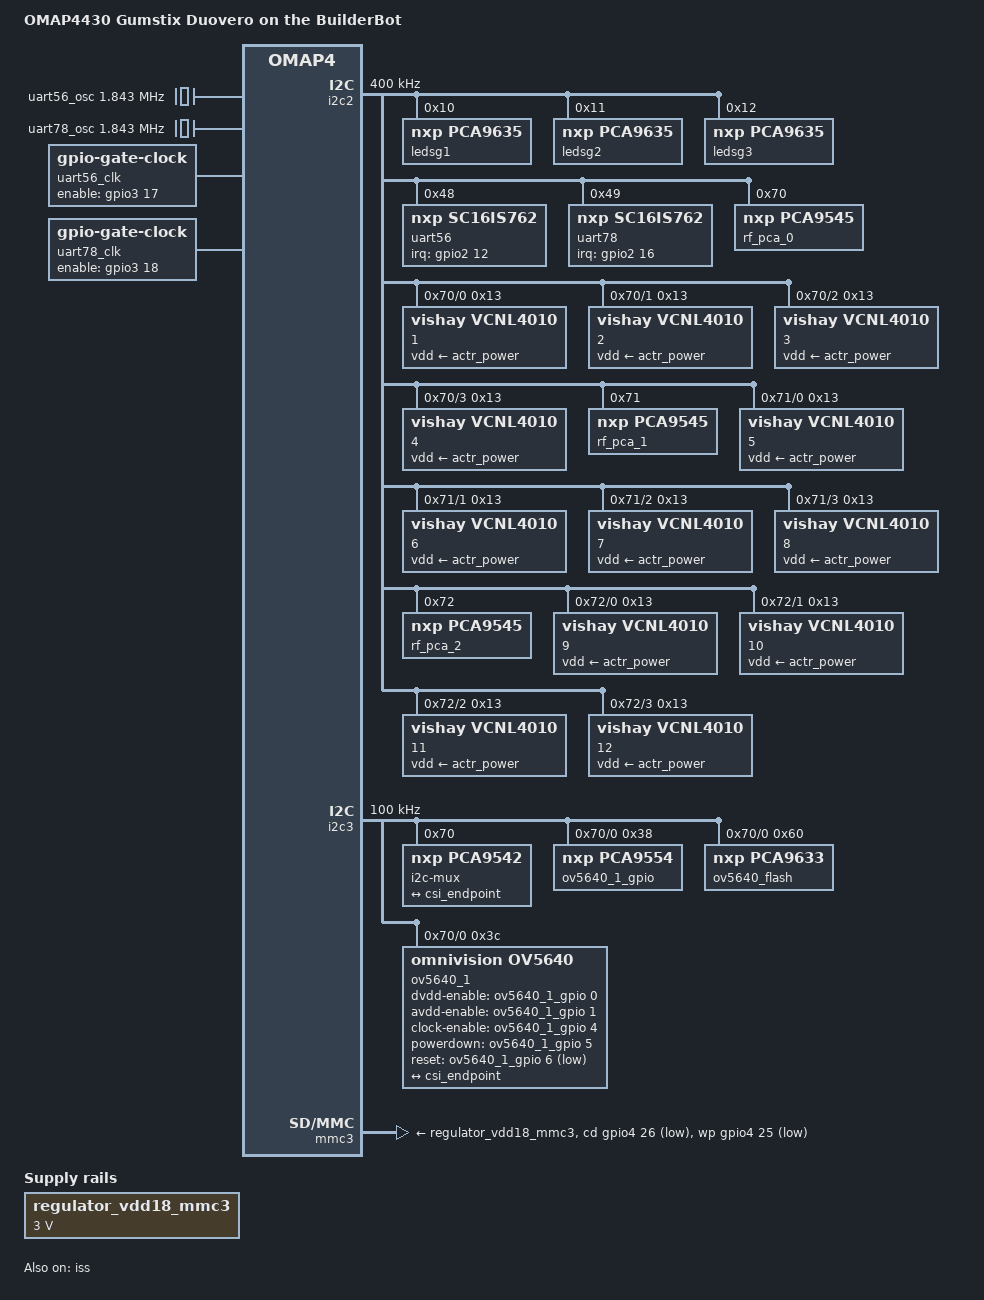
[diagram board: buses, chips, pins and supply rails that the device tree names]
/*
 * Copyright (C) 2014 Florian Vaussard, EPFL Mobots group
 *
 * This program is free software; you can redistribute it and/or modify
 * it under the terms of the GNU General Public License version 2 as
 * published by the Free Software Foundation.
 */
/dts-v1/;

#include "omap4-duovero.dtsi"

#include <dt-bindings/input/input.h>

/ {
	model = "OMAP4430 Gumstix Duovero on the BuilderBot";
	compatible = "ulb,omap4-duovero-builderbot", "gumstix,omap4-duovero", "ti,omap4430", "ti,omap4";

	uart56_osc: uart56_osc {
		compatible = "fixed-clock";
		#clock-cells = <0>;
		clock-frequency = <1843200>;
	};

	uart78_osc: uart78_osc {
		compatible = "fixed-clock";
		#clock-cells = <0>;
		clock-frequency = <1843200>;
	};

	uart56_clk: uart56_clk {
		compatible = "gpio-gate-clock";
		clocks = <&uart56_osc>;
		#clock-cells = <0>;
		enable-gpios = <&gpio3 17 GPIO_ACTIVE_HIGH>; /* cam_shutter.gpio_81: uart56_clk_en */
	};

	uart78_clk: uart78_clk {
		compatible = "gpio-gate-clock";
		clocks = <&uart78_osc>;
		#clock-cells = <0>;
		enable-gpios = <&gpio3 18 GPIO_ACTIVE_HIGH>; /* cam_strobe.gpio_82: uart78_clk_en */
	};

	regulator_vdd18_mmc3: regulator_vdd18_mmc3 {
		compatible = "regulator-fixed";
		regulator-name = "vdd18-mmc3";
		regulator-min-microvolt = <3000000>;
		regulator-max-microvolt = <3000000>;
		regulator-always-on;
	};
};

&omap4_pmx_core {
	pinctrl-0 = <
			&uart56ctrl_pins
			&uart78ctrl_pins
	>;

	i2c2_pins: pinmux_i2c2_pins {
		pinctrl-single,pins = <
			OMAP4_IOPAD(0x126, PIN_INPUT_PULLUP | MUX_MODE0)	/* i2c2_scl */
			OMAP4_IOPAD(0x128, PIN_INPUT_PULLUP | MUX_MODE0)	/* i2c2_sda */
		>;
	};

	i2c3_pins: pinmux_i2c3_pins {
		pinctrl-single,pins = <
			OMAP4_IOPAD(0x12a, PIN_INPUT_PULLUP | MUX_MODE0)	/* i2c3_scl */
			OMAP4_IOPAD(0x12c, PIN_INPUT_PULLUP | MUX_MODE0)	/* i2c3_sda */
		>;
	};

	uart56ctrl_pins: pinmux_uart56ctrl_pins {
		pinctrl-single,pins = <
			OMAP4_IOPAD(0x068, PIN_INPUT_PULLUP | MUX_MODE3)	/* gpmc_a20.gpio_44: uart56_irq */
			OMAP4_IOPAD(0x06a, PIN_INPUT_PULLUP | MUX_MODE3)	/* gpmc_a21.gpio_45: uart56_nrst */
			OMAP4_IOPAD(0x0bc, PIN_OUTPUT | MUX_MODE3)		/* cam_shutter.gpio_81: uart56_clk_en */
		>;
	};

	uart78ctrl_pins: pinmux_uart78ctrl_pins {
		pinctrl-single,pins = <
			OMAP4_IOPAD(0x070, PIN_INPUT_PULLUP | MUX_MODE3)	/* gpmc_a24.gpio_48: uart78_irq */
			OMAP4_IOPAD(0x06c, PIN_INPUT_PULLUP | MUX_MODE3)	/* gpmc_a24.gpio_46: uart78_nrst */
			OMAP4_IOPAD(0x0be, PIN_OUTPUT | MUX_MODE3)		/* cam_strobe.gpio_82: uart78_clk_en */
		>;
	};

	mmc3_pins: pinmux_mmc3_pins {
		pinctrl-single,pins = <
			OMAP4_IOPAD(0x114, PIN_INPUT | MUX_MODE3)		/* abe_dmic_din2.gpio_121: sdmmc3_wp */
			OMAP4_IOPAD(0x116, PIN_INPUT | MUX_MODE3)		/* abe_dmic_din3.gpio_122: sdmmc3_cd */
			OMAP4_IOPAD(0x174, PIN_INPUT | MUX_MODE2)		/* usbb2_ulpitll_dat6.sdmcc3_cmd */
			OMAP4_IOPAD(0x176, PIN_INPUT | MUX_MODE2)		/* usbb2_ulpitll_dat7.sdmmc3_clk */
			OMAP4_IOPAD(0x11c, PIN_INPUT | MUX_MODE1)		/* uart2_rx.sdmcc3_dat0 */
			OMAP4_IOPAD(0x11e, PIN_INPUT | MUX_MODE1)		/* uart2_tx.sdmcc3_dat1 */
		>;
	};

	iss_csi21_pins: pinmux_iss_csi21_pins {
		pinctrl-single,pins = <
			OMAP4_IOPAD(0x0a0, PIN_INPUT_PULLDOWN | MUX_MODE0)	/* csi21_dx0.csi21_dx0 */
			OMAP4_IOPAD(0x0a2, PIN_INPUT_PULLDOWN | MUX_MODE0)	/* csi21_dy0.csi21_dy0 */
			OMAP4_IOPAD(0x0a4, PIN_INPUT_PULLDOWN | MUX_MODE0)	/* csi21_dx1.csi21_dx1 */
			OMAP4_IOPAD(0x0a6, PIN_INPUT_PULLDOWN | MUX_MODE0)	/* csi21_dy1.csi21_dy1 */
		>;
	};
};

&iss {
	status = "ok";
	pinctrl-names = "default";
	pinctrl-0 = <&iss_csi21_pins>;

	ports {
		#address-cells = <1>;
		#size-cells = <0>;

		port@0 {
			csi_endpoint: endpoint@0 {
				channel = "0";
				clock-lanes = <1>;
				data-lanes = <2>;
				remote-endpoint = <&ov5640_11>;
			};
		};
	};
};

&i2c2 {
	pinctrl-names = "default";
	pinctrl-0 = <&i2c2_pins>;

	clock-frequency = <400000>;
	
	ledsg1: pca9635@10 {
		compatible = "nxp,pca9635";
		#address-cells = <1>;
		#size-cells = <0>;
		reg = <0x10>;

		led0r@0 {
			label = "led0r";
			reg = <0>;
		};
		led0g@1 {
			label = "led0g";
			reg = <1>;
		};
		led0b@2 {
			label = "led0b";
			reg = <2>;
		};
		unused@3 {
			reg = <3>;
		};
		
		led1r@4 {
			label = "led1r";
			reg = <4>;
		};
		led1g@5 {
			label = "led1g";
			reg = <5>;
		};
		led1b@6 {
			label = "led1b";
			reg = <6>;
		};
		unused@7 {
			reg = <7>;
		};
		
		led2r@8 {
			label = "led2r";
			reg = <8>;
		};
		led2g@9 {
			label = "led2g";
			reg = <9>;
		};
		led2b@10 {
			label = "led2b";
			reg = <10>;
		};
		unused@11 {
			reg = <11>;
		};
		
		led3r@12 {
			label = "led3r";
			reg = <12>;
		};
		led3g@13 {
			label = "led3g";
			reg = <13>;
		};
		led3b@14 {
			label = "led3b";
			reg = <14>;
		};
		unused@15 {
			reg = <15>;
		};
	};
	
	ledsg2: pca9635@11 {
		compatible = "nxp,pca9635";
		#address-cells = <1>;
		#size-cells = <0>;
		reg = <0x11>;

		led4r@0 {
			label = "led4r";
			reg = <0>;
		};
		led4g@1 {
			label = "led4g";
			reg = <1>;
		};
		led4b@2 {
			label = "led4b";
			reg = <2>;
		};
		unused@3 {
			reg = <3>;
		};
		
		led5r@4 {
			label = "led5r";
			reg = <4>;
		};
		led5g@5 {
			label = "led5g";
			reg = <5>;
		};
		led5b@6 {
			label = "led5b";
			reg = <6>;
		};
		unused@7 {
			reg = <7>;
		};
		
		led6r@8 {
			label = "led6r";
			reg = <8>;
		};
		led6g@9 {
			label = "led6g";
			reg = <9>;
		};
		led6b@10 {
			label = "led6b";
			reg = <10>;
		};
		unused@11 {
			reg = <11>;
		};
		
		led7r@12 {
			label = "led7r";
			reg = <12>;
		};
		led7g@13 {
			label = "led7g";
			reg = <13>;
		};
		led7b@14 {
			label = "led7b";
			reg = <14>;
		};
		unused@15 {
			reg = <15>;
		};
	};
	
	ledsg3: pca9635@12 {
		compatible = "nxp,pca9635";
		#address-cells = <1>;
		#size-cells = <0>;
		reg = <0x12>;

		led8r@0 {
			label = "led8r";
			reg = <0>;
		};
		led8g@1 {
			label = "led8g";
			reg = <1>;
		};
		led8b@2 {
			label = "led8b";
			reg = <2>;
		};
		unused@3 {
			reg = <3>;
		};
		
		led9r@4 {
			label = "led9r";
			reg = <4>;
		};
		led9g@5 {
			label = "led9g";
			reg = <5>;
		};
		led9b@6 {
			label = "led9b";
			reg = <6>;
		};
		unused@7 {
			reg = <7>;
		};
		
		led10r@8 {
			label = "led10r";
			reg = <8>;
		};
		led10g@9 {
			label = "led10g";
			reg = <9>;
		};
		led10b@10 {
			label = "led10b";
			reg = <10>;
		};
		unused@11 {
			reg = <11>;
		};
		
		led11r@12 {
			label = "led11r";
			reg = <12>;
		};
		led11g@13 {
			label = "led11g";
			reg = <13>;
		};
		led11b@14 {
			label = "led11b";
			reg = <14>;
		};
		unused@15 {
			reg = <15>;
		};
	};


	uart56: sc16is762@48 {
		compatible = "nxp,sc16is762";
		reg = <0x48>;
		clocks = <&uart56_clk>;

		interrupt-parent = <&gpio2>;
		interrupts = <12 IRQ_TYPE_EDGE_FALLING>; /* gpmc_a20.gpio_44 */

		#address-cells = <1>;
		#size-cells = <0>;

		uart5: serial@0 {
			reg = <0>;
		}; 

		uart6: serial@1 {
			reg = <1>;
		};

	};

	uart78: sc16is762@49 {
		compatible = "nxp,sc16is762";
		reg = <0x49>;
		clocks = <&uart78_clk>;

		interrupt-parent = <&gpio2>;
		interrupts = <16 IRQ_TYPE_EDGE_FALLING>; /* gpmc_a24.gpio_48 */

		#address-cells = <1>;
		#size-cells = <0>;

		uart7: serial@2 {
			reg = <2>;
		}; 

		uart8: serial@3 {
			reg = <3>;
		};

	};

	rf_pca_0: pca9545@70 {
		compatible = "nxp,pca9545";
		#address-cells = <1>;
		#size-cells = <0>;
		reg = <0x70>;
		i2c-mux-idle-disconnect;

		i2c@0 {
			#address-cells = <1>;
			#size-cells = <0>;
			reg = <0>;

			vcnl4010@13 {
				compatible = "vishay,vcnl4010";
				label = "1";
				reg = <0x13>;
				vdd-supply = <&actr_power>;
			};
		};

		i2c@1 {
			#address-cells = <1>;
			#size-cells = <0>;
			reg = <1>;

			vcnl4010@13 {
				compatible = "vishay,vcnl4010";
				label = "2";
				reg = <0x13>;
				vdd-supply = <&actr_power>;
			};
		};

		i2c@2 {
			#address-cells = <1>;
			#size-cells = <0>;
			reg = <2>;

			vcnl4010@13 {
				compatible = "vishay,vcnl4010";
				label = "3";
				reg = <0x13>;
				vdd-supply = <&actr_power>;
			};
		};

		i2c@3 {
			#address-cells = <1>;
			#size-cells = <0>;
			reg = <3>;

			vcnl4010@13 {
				compatible = "vishay,vcnl4010";
				label = "4";
				reg = <0x13>;
				vdd-supply = <&actr_power>;
			};
		};
	};

	rf_pca_1: pca9545@71 {
		compatible = "nxp,pca9545";
		#address-cells = <1>;
		#size-cells = <0>;
		reg = <0x71>;
		i2c-mux-idle-disconnect;

		i2c@0 {
			#address-cells = <1>;
			#size-cells = <0>;
			reg = <0>;

			vcnl4010@13 {
				compatible = "vishay,vcnl4010";
				label = "5";
				reg = <0x13>;
				vdd-supply = <&actr_power>;
			};
		};

		i2c@1 {
			#address-cells = <1>;
			#size-cells = <0>;
			reg = <1>;

			vcnl4010@13 {
				compatible = "vishay,vcnl4010";
				label = "6";
				reg = <0x13>;
				vdd-supply = <&actr_power>;
			};
		};

		i2c@2 {
			#address-cells = <1>;
			#size-cells = <0>;
			reg = <2>;

			vcnl4010@13 {
				compatible = "vishay,vcnl4010";
				label = "7";
				reg = <0x13>;
				vdd-supply = <&actr_power>;
			};
		};

		i2c@3 {
			#address-cells = <1>;
			#size-cells = <0>;
			reg = <3>;

			vcnl4010@13 {
				compatible = "vishay,vcnl4010";
				label = "8";
				reg = <0x13>;
				vdd-supply = <&actr_power>;
			};
		};
	};

	rf_pca_2: pca9545@72 {
		compatible = "nxp,pca9545";
		#address-cells = <1>;
		#size-cells = <0>;
		reg = <0x72>;
		i2c-mux-idle-disconnect;

		i2c@0 {
			#address-cells = <1>;
			#size-cells = <0>;
			reg = <0>;

			vcnl4010@13 {
				compatible = "vishay,vcnl4010";
				label = "9";
				reg = <0x13>;
				vdd-supply = <&actr_power>;
			};
		};

		i2c@1 {
			#address-cells = <1>;
			#size-cells = <0>;
			reg = <1>;

			vcnl4010@13 {
				compatible = "vishay,vcnl4010";
				label = "10";
				reg = <0x13>;
				vdd-supply = <&actr_power>;
			};
		};

		i2c@2 {
			#address-cells = <1>;
			#size-cells = <0>;
			reg = <2>;

			vcnl4010@13 {
				compatible = "vishay,vcnl4010";
				label = "11";
				reg = <0x13>;
				vdd-supply = <&actr_power>;
			};
		};

		i2c@3 {
			#address-cells = <1>;
			#size-cells = <0>;
			reg = <3>;

			vcnl4010@13 {
				compatible = "vishay,vcnl4010";
				label = "12";
				reg = <0x13>;
				vdd-supply = <&actr_power>;
			};
		};
	};
};

&i2c3 {
	pinctrl-names = "default";
	pinctrl-0 = <&i2c3_pins>;

	clock-frequency = <100000>;

	i2c-mux@70 {
		compatible = "nxp,pca9542";
		#address-cells = <1>;
		#size-cells = <0>;
		reg = <0x70>;

		i2c@0 {
			#address-cells = <1>;
			#size-cells = <0>;
			reg = <0>;

			ov5640_1_gpio: pca9554@38 {
				compatible = "nxp,pca9554";
				reg = <0x38>;
				gpio-controller;
				#gpio-cells = <2>;
			};

			ov5640_flash: pca9633@60 {
				compatible = "nxp,pca9633";
				#address-cells = <1>;
				#size-cells = <0>;
				reg = <0x60>;

				tl@0{
					label = "ov5640_1_flash_tl";
					reg = <0>;
				};
				tr@1{
					label = "ov5640_1_flash_tr";
					reg = <1>;
				};
				bl@2{
					label = "ov5640_1_flash_bl";
					reg = <2>;
				};
				br@3{
					label = "ov5640_1_flash_br";
					reg = <3>;
				};
			};

			ov5640_1: camera@3c {
				compatible = "omnivision,ov5640";
				status = "ok";
				reg = <0x3c>;

				dvdd-enable-gpios = <&ov5640_1_gpio 0 GPIO_ACTIVE_HIGH>;
				avdd-enable-gpios = <&ov5640_1_gpio 1 GPIO_ACTIVE_HIGH>;
				clock-enable-gpios = <&ov5640_1_gpio 4 GPIO_ACTIVE_HIGH>;

				powerdown-gpios = <&ov5640_1_gpio 5 GPIO_ACTIVE_HIGH>;
				reset-gpios = <&ov5640_1_gpio 6 GPIO_ACTIVE_LOW>;

				port {
					ov5640_11: endpoint {
						clock-lanes = <1>;
						data-lanes = <2>;

						remote-endpoint = <&csi_endpoint>;
					};
				};
			};
		};
	};
};

&mmc3 {
	status = "ok";

	pinctrl-names = "default";
	pinctrl-0 = <&mmc3_pins>;

	ti,bus-width = <1>;
	vmmc-supply = <&regulator_vdd18_mmc3>;

	wp-gpios = <&gpio4 25 GPIO_ACTIVE_HIGH>;	/* gpio_121 */
	cd-gpios = <&gpio4 26 GPIO_ACTIVE_HIGH>;	/* gpio_122 */
	cd-inverted;
	wp-inverted;
};

&uart3 {
	interrupts-extended = <&wakeupgen GIC_SPI 74 IRQ_TYPE_LEVEL_HIGH
			       &omap4_pmx_core OMAP4_UART3_RX>;
};

&uart5 {
	pm: atmega328p {
		compatible = "ulb,bb-avr";
		current-speed = <57600>;

		actr_power: regulator {
			compatible = "ulb,bb-avr-regulator";
			domain = "actuators";
		};

		poweroff {
			compatible = "ulb,bb-avr-poweroff";
		};

	}; 
};

&uart6 {
	sensact: atmega328p {
		compatible = "ulb,bb-avr";
		current-speed = <57600>;

		dds_actr {
			compatible = "ulb,bb-avr-dds-actr";
			vdd-supply = <&actr_power>;
		};

		dds_sens {
			compatible = "ulb,bb-avr-dds-sens";
		};
	};
};

&uart7 {
	manip: atmega328p {
		compatible = "ulb,bb-avr";
		current-speed = <57600>;

		las_actr {
			compatible = "ulb,bb-avr-las-actr";
		};

		las_sens {
			compatible = "ulb,bb-avr-las-sens";
		};

		ems_actr {
			compatible = "ulb,bb-avr-ems-actr";
		};

		ems_sens {
			compatible = "ulb,bb-avr-ems-sens";
		};

		nfc {
			compatible = "ulb,bb-avr-nfc";
		};

		i2c5: i2c {
			compatible = "ulb,bb-avr-i2c";
		};
	};
};

&i2c5 {
	mux: pca9544@70 {
		compatible = "nxp,pca9544";
		#address-cells = <1>;
		#size-cells = <0>;
		reg = <0x70>;

		i2c@0 {
			#address-cells = <1>;
			#size-cells = <0>;
			reg = <0>;
			
			vcnl4010@13 {
				compatible = "vishay,vcnl4010";
				label = "left";
				reg = <0x13>;
				vdd-supply = <&actr_power>;
			};
		};

		i2c@1 {
			#address-cells = <1>;
			#size-cells = <0>;
			reg = <1>;
			
			vcnl4010@13 {
				compatible = "vishay,vcnl4010";
				label = "right";
				reg = <0x13>;
				vdd-supply = <&actr_power>;
			};
		};

		i2c@2 {
			#address-cells = <1>;
			#size-cells = <0>;
			reg = <2>;
			
			vcnl4010@13 {
				compatible = "vishay,vcnl4010";
				label = "underneath";
				reg = <0x13>;
				vdd-supply = <&actr_power>;
			};
		};

		i2c@3 {
			#address-cells = <1>;
			#size-cells = <0>;
			reg = <3>;
			
			vcnl4010@13 {
				compatible = "vishay,vcnl4010";
				label = "front";
				reg = <0x13>;
				vdd-supply = <&actr_power>;
			};
		};
	};
};


